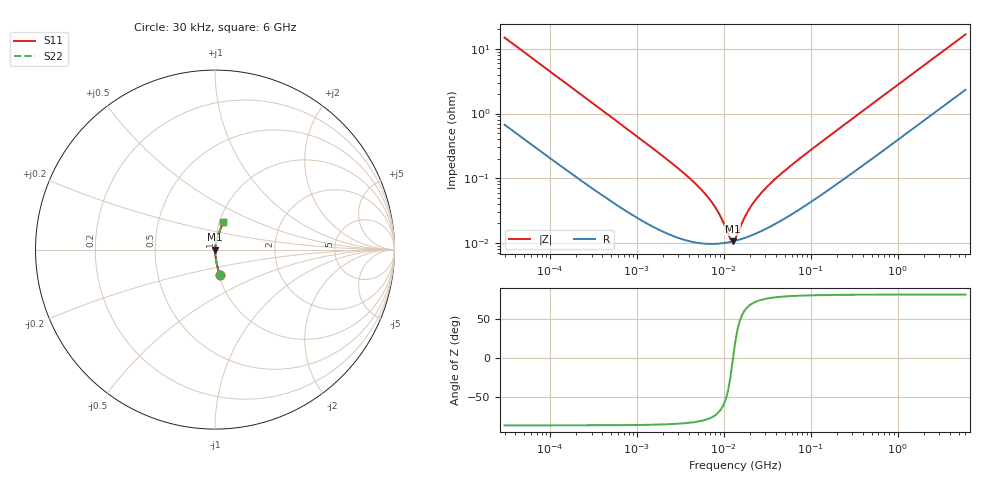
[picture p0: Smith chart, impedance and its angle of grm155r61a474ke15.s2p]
!Murata Part Number:GRM155R61A474KE15
!These Parameters are Measured in Series Mode Connection
!  o--ll--o
!Port1  Port2
!  o------o
!Operation Temp=25[C], DC Bias Voltage=0[V]
!Freq. Start=30[kHz] Stop=6[GHz], 201[Steps]
# Hz S DB R 50
!Freq.[Hz] MagS11[dB] PhaseS11[DEG] MagS21[dB] PhaseS21[DEG] MagS12[dB] PhaseS12[DEG] MagS22[dB] PhaseS22[DEG]
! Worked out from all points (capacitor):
!   201 points, 30 kHz to 6 GHz, reference 50 ohm
!   read as one part in series: C = 357 nF near 31.89 kHz
!   lowest |Z| = 10.6 mohm at 12.62 MHz (marker M1)
!   series resonance near 12.75 MHz, so ESL is about 440 pH
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30000  -16.70 -79.0  -0.15 8.4  -0.15 8.4  -16.70 -79.0
70501  -24.01 -83.8  -0.04 3.6  -0.04 3.6  -24.01 -83.8
238944  -34.59 -86.2  -0.01 1.1  -0.01 1.1  -34.59 -86.2
1790467  -52.23 -86.1  -0.00 0.1  -0.00 0.1  -52.23 -86.1
3958524  -59.80 -84.0  -0.00 0.1  -0.00 0.1  -59.80 -84.0
6450219  -65.63 -79.3  -0.00 0.0  -0.00 0.0  -65.63 -79.3
7746221  -68.51 -75.0  -0.00 0.0  -0.00 0.0  -68.51 -75.0
8751857  -70.87 -70.0  -0.00 0.0  -0.00 0.0  -70.87 -70.0
9888047  -73.76 -61.0  -0.00 0.0  -0.00 0.0  -73.76 -61.0
1.187479e7  -78.80 -25.5  -0.00 0.0  -0.00 0.0  -78.80 -25.5
1.262208e7  -79.51 -3.6  -0.00 0.0  -0.00 0.0  -79.51 -3.6
1.341641e7  -78.89 18.5  -0.00 -0.0  -0.00 -0.0  -78.89 18.5
1.611208e7  -73.89 55.1  -0.00 -0.0  -0.00 -0.0  -73.89 55.1
1.82038e7  -70.97 64.4  -0.00 -0.0  -0.00 -0.0  -70.97 64.4
2.186137e7  -67.57 71.2  -0.00 -0.0  -0.00 -0.0  -67.57 71.2
2.625384e7  -64.87 74.8  -0.00 -0.0  -0.00 -0.0  -64.87 74.8
3.351302e7  -61.87 77.3  -0.00 -0.0  -0.00 -0.0  -61.87 77.3
4.54715e7  -58.63 79.1  -0.00 -0.1  -0.00 -0.1  -58.63 79.1
1.068591e8  -50.67 80.9  -0.00 -0.2  -0.00 -0.2  -50.67 80.9
8.007212e8  -33.10 80.6  -0.03 -1.3  -0.03 -1.3  -33.10 80.6
2.553167e9  -23.11 78.0  -0.11 -4.0  -0.11 -4.0  -23.11 78.0
6e9  -15.89 72.8  -0.31 -9.1  -0.31 -9.1  -15.89 72.8
